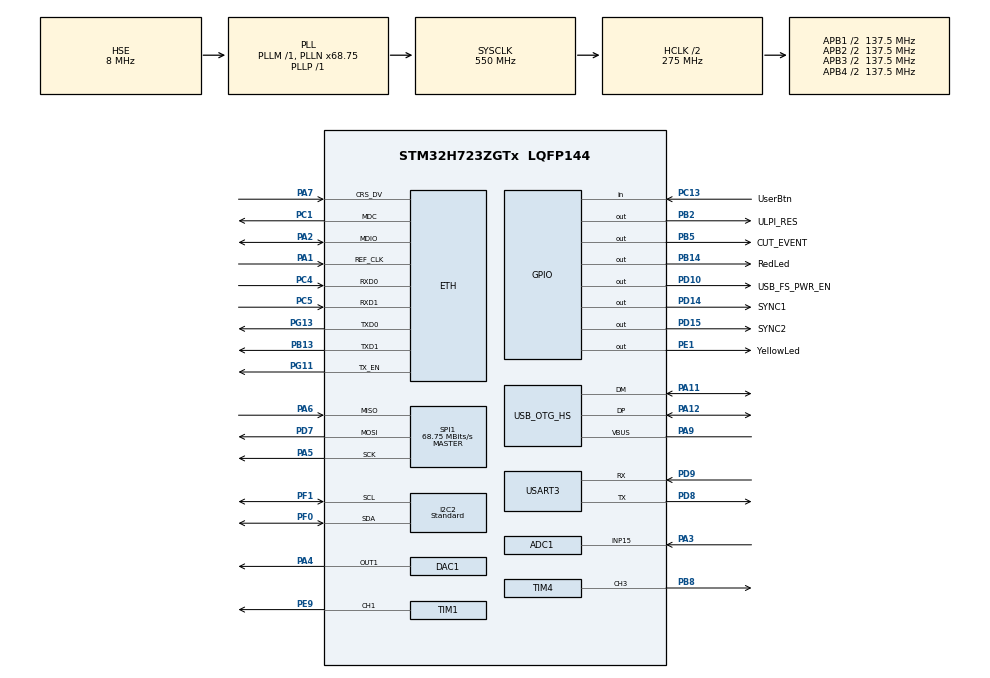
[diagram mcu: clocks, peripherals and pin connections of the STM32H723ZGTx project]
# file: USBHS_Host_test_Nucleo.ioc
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ADC1.Channel-0\#ChannelRegularConversion=ADC_CHANNEL_18
ADC1.Channel-1\#ChannelRegularConversion=ADC_CHANNEL_15
ADC1.ClockPrescaler=ADC_CLOCK_ASYNC_DIV10
ADC1.ConversionDataManagement=ADC_CONVERSIONDATA_DMA_ONESHOT
ADC1.ExternalTrigConv=ADC_EXTERNALTRIG_T3_TRGO
ADC1.NbrOfConversion=2
ADC1.NbrOfConversionFlag=1
ADC1.OffsetNumber-0\#ChannelRegularConversion=ADC_OFFSET_NONE
ADC1.OffsetNumber-1\#ChannelRegularConversion=ADC_OFFSET_NONE
ADC1.OffsetSignedSaturation-0\#ChannelRegularConversion=DISABLE
ADC1.OffsetSignedSaturation-1\#ChannelRegularConversion=DISABLE
ADC1.Overrun=ADC_OVR_DATA_OVERWRITTEN
ADC1.OversamplingMode=ENABLE
ADC1.Rank-0\#ChannelRegularConversion=1
ADC1.Rank-1\#ChannelRegularConversion=2
ADC1.Ratio=64
ADC1.RightBitShift=ADC_RIGHTBITSHIFT_6
ADC1.SamplingTime-0\#ChannelRegularConversion=ADC_SAMPLETIME_32CYCLES_5
ADC1.SamplingTime-1\#ChannelRegularConversion=ADC_SAMPLETIME_32CYCLES_5
ADC1.master=1
CORTEX_M7.AccessPermission-Cortex_Memory_Protection_Unit_Region1_Settings=MPU_REGION_FULL_ACCESS
CORTEX_M7.AccessPermission-Cortex_Memory_Protection_Unit_Region2_Settings=MPU_REGION_FULL_ACCESS
CORTEX_M7.BaseAddress-Cortex_Memory_Protection_Unit_Region1_Settings=0x30000200
CORTEX_M7.BaseAddress-Cortex_Memory_Protection_Unit_Region2_Settings=0x30000000
CORTEX_M7.CPU_DCache=Enabled
CORTEX_M7.CPU_ICache=Enabled
CORTEX_M7.DisableExec-Cortex_Memory_Protection_Unit_Region0_Settings=MPU_INSTRUCTION_ACCESS_DISABLE
CORTEX_M7.DisableExec-Cortex_Memory_Protection_Unit_Region1_Settings=MPU_INSTRUCTION_ACCESS_DISABLE
CORTEX_M7.DisableExec-Cortex_Memory_Protection_Unit_Region2_Settings=MPU_INSTRUCTION_ACCESS_DISABLE
CORTEX_M7.Enable-Cortex_Memory_Protection_Unit_Region0_Settings=MPU_REGION_ENABLE
CORTEX_M7.Enable-Cortex_Memory_Protection_Unit_Region1_Settings=MPU_REGION_ENABLE
CORTEX_M7.Enable-Cortex_Memory_Protection_Unit_Region2_Settings=MPU_REGION_ENABLE
CORTEX_M7.IsBufferable-Cortex_Memory_Protection_Unit_Region2_Settings=MPU_ACCESS_BUFFERABLE
CORTEX_M7.IsShareable-Cortex_Memory_Protection_Unit_Region0_Settings=MPU_ACCESS_SHAREABLE
CORTEX_M7.IsShareable-Cortex_Memory_Protection_Unit_Region1_Settings=MPU_ACCESS_NOT_SHAREABLE
CORTEX_M7.IsShareable-Cortex_Memory_Protection_Unit_Region2_Settings=MPU_ACCESS_SHAREABLE
CORTEX_M7.MPU_Control=MPU_PRIVILEGED_DEFAULT
CORTEX_M7.Size-Cortex_Memory_Protection_Unit_Region0_Settings=MPU_REGION_SIZE_4GB
CORTEX_M7.Size-Cortex_Memory_Protection_Unit_Region1_Settings=MPU_REGION_SIZE_32KB
CORTEX_M7.Size-Cortex_Memory_Protection_Unit_Region2_Settings=MPU_REGION_SIZE_512B
CORTEX_M7.SubRegionDisable-Cortex_Memory_Protection_Unit_Region0_Settings=0x87
CORTEX_M7.SubRegionDisable-Cortex_Memory_Protection_Unit_Region1_Settings=0
CORTEX_M7.TypeExtField-Cortex_Memory_Protection_Unit_Region1_Settings=MPU_TEX_LEVEL1
DAC1.DAC_Channel-DAC_OUT1_ExtAndInt=DAC_CHANNEL_1
Dma.ADC1.0.Direction=DMA_PERIPH_TO_MEMORY
Dma.ADC1.0.EventEnable=DISABLE
Dma.ADC1.0.FIFOMode=DMA_FIFOMODE_DISABLE
Dma.ADC1.0.Instance=DMA1_Stream0
Dma.ADC1.0.MemDataAlignment=DMA_MDATAALIGN_HALFWORD
Dma.ADC1.0.MemInc=DMA_MINC_ENABLE
Dma.ADC1.0.Mode=DMA_CIRCULAR
Dma.ADC1.0.PeriphDataAlignment=DMA_PDATAALIGN_HALFWORD
Dma.ADC1.0.PeriphInc=DMA_PINC_DISABLE
Dma.ADC1.0.Polarity=HAL_DMAMUX_REQ_GEN_RISING
Dma.ADC1.0.Priority=DMA_PRIORITY_LOW
Dma.ADC1.0.RequestNumber=1
Dma.ADC1.0.SignalID=NONE
Dma.ADC1.0.SyncEnable=DISABLE
Dma.ADC1.0.SyncPolarity=HAL_DMAMUX_SYNC_NO_EVENT
Dma.ADC1.0.SyncRequestNumber=1
Dma.ADC1.0.SyncSignalID=NONE
Dma.Request0=ADC1
ETH.MACAddr=00\:80\:E1\:00\:00\:06
ETH.MediaInterface=HAL_ETH_RMII_MODE
ETH.RxBuffLen=1524
ETH.TxDescAddress=0x30000080
I2C2.I2C_Speed_Mode=I2C_Standard
I2C2.Speed=100
I2C2.Timing=0x60404E72
LWIP.BSP.number=1
LWIP.IP_ADDRESS=192.168.088.150
LWIP.LWIP_DHCP=0
LWIP.LWIP_RAM_HEAP_POINTER=0x30000200
LWIP.MEM_SIZE=1024*10
LWIP.NETMASK_ADDRESS=255.255.255.000
LWIP.TCP_MSS=1460
LWIP.TCP_SND_BUF=5840
LWIP.TCP_SND_QUEUELEN=16
LWIP.TCP_WND=5840
LWIP.Version=v2.1.2_Cube
LWIP0.BSP.STBoard=false
LWIP0.BSP.api=BSP_COMPONENT_DRIVER
LWIP0.BSP.component=LAN8742
LWIP0.BSP.instance=LAN8742
LWIP0.BSP.name=Driver_PHY
LWIP0.BSP.semaphore=S_LAN8742
LWIP0.BSP.solution=LAN8742
Mcu.Family=STM32H7
Mcu.Name=STM32H723ZGTx
Mcu.Package=LQFP144
Mcu.UserConstants=uSecondTimPrescaller,274
NVIC.DMA1_Stream0_IRQn=true\:0\:0\:false\:false\:true\:false\:true\:true
NVIC.OTG_HS_IRQn=true\:0\:0\:false\:false\:true\:false\:true\:true
NVIC.PriorityGroup=NVIC_PRIORITYGROUP_4
NVIC.TIM15_IRQn=true\:7\:0\:true\:false\:true\:true\:true\:true
NVIC.TIM23_IRQn=true\:9\:0\:true\:false\:true\:true\:true\:true
NVIC.TIM2_IRQn=true\:8\:0\:true\:false\:true\:true\:true\:true
NVIC.TIM4_IRQn=true\:5\:0\:true\:false\:true\:true\:true\:true
NVIC.TIM8_UP_TIM13_IRQn=true\:10\:0\:true\:false\:true\:true\:true\:true
PA1.GPIO_Speed=GPIO_SPEED_FREQ_VERY_HIGH
PA1.Mode=RMII
PA1.Signal=ETH_REF_CLK
PA11.Mode=Host_FS
PA11.Signal=USB_OTG_HS_DM
PA12.Mode=Host_FS
PA12.Signal=USB_OTG_HS_DP
PA13(JTMS/SWDIO).Mode=Serial_Wire
PA13(JTMS/SWDIO).Signal=DEBUG_JTMS-SWDIO
PA14(JTCK/SWCLK).Mode=Serial_Wire
PA14(JTCK/SWCLK).Signal=DEBUG_JTCK-SWCLK
PA2.GPIO_Speed=GPIO_SPEED_FREQ_VERY_HIGH
PA2.Mode=RMII
PA2.Signal=ETH_MDIO
PA3.Signal=ADCx_INP15
PA4.Signal=SharedAnalog_PA4
PA5.GPIO_PuPd=GPIO_NOPULL
PA5.GPIO_Speed=GPIO_SPEED_FREQ_VERY_HIGH
PA5.Mode=Full_Duplex_Master
PA5.Signal=SPI1_SCK
PA6.GPIO_PuPd=GPIO_NOPULL
PA6.GPIO_Speed=GPIO_SPEED_FREQ_VERY_HIGH
PA6.Mode=Full_Duplex_Master
PA6.Signal=SPI1_MISO
PA7.GPIO_Speed=GPIO_SPEED_FREQ_VERY_HIGH
PA7.Mode=RMII
PA7.Signal=ETH_CRS_DV
PA9.Mode=Activate_VBUS_FS
PA9.Signal=USB_OTG_HS_VBUS
PB13.GPIO_Speed=GPIO_SPEED_FREQ_VERY_HIGH
PB13.Mode=RMII
PB13.Signal=ETH_TXD1
PB14.GPIO_Label=RedLed
PB14.Signal=GPIO_Output
PB2.GPIO_Label=ULPI_RES
PB2.GPIO_Speed=GPIO_SPEED_FREQ_LOW
PB2.PinState=GPIO_PIN_SET
PB2.Signal=GPIO_Output
PB5.GPIO_Label=CUT_EVENT
PB5.GPIO_Speed=GPIO_SPEED_FREQ_VERY_HIGH
PB5.Signal=GPIO_Output
PB8.GPIO_PuPd=GPIO_PULLDOWN
PB8.GPIO_Speed=GPIO_SPEED_FREQ_VERY_HIGH
PB8.Signal=S_TIM4_CH3
PC1.GPIO_Speed=GPIO_SPEED_FREQ_VERY_HIGH
PC1.Mode=RMII
PC1.Signal=ETH_MDC
PC13.GPIO_Label=UserBtn
PC13.Signal=GPIO_Input
PC4.GPIO_Speed=GPIO_SPEED_FREQ_VERY_HIGH
PC4.Mode=RMII
PC4.Signal=ETH_RXD0
PC5.GPIO_Speed=GPIO_SPEED_FREQ_VERY_HIGH
PC5.Mode=RMII
PC5.Signal=ETH_RXD1
PD10.GPIO_Label=USB_FS_PWR_EN
PD10.PinState=GPIO_PIN_SET
PD10.Signal=GPIO_Output
PD14.GPIO_Label=SYNC1
PD14.GPIO_Speed=GPIO_SPEED_FREQ_VERY_HIGH
PD14.Signal=GPIO_Output
PD15.GPIO_Label=SYNC2
PD15.GPIO_Speed=GPIO_SPEED_FREQ_VERY_HIGH
PD15.Signal=GPIO_Output
PD7.GPIO_PuPd=GPIO_NOPULL
PD7.GPIO_Speed=GPIO_SPEED_FREQ_VERY_HIGH
PD7.Mode=Full_Duplex_Master
PD7.Signal=SPI1_MOSI
PD8.Mode=Asynchronous
PD8.Signal=USART3_TX
PD9.Mode=Asynchronous
PD9.Signal=USART3_RX
PE1.GPIO_Label=YellowLed
PE1.Signal=GPIO_Output
PE9.GPIO_PuPd=GPIO_PULLDOWN
PE9.GPIO_Speed=GPIO_SPEED_FREQ_VERY_HIGH
PE9.Signal=S_TIM1_CH1
PF0.GPIO_Pu=GPIO_PULLUP
PF0.GPIO_Speed=GPIO_SPEED_FREQ_VERY_HIGH
PF0.Mode=I2C
PF0.Signal=I2C2_SDA
PF1.GPIO_Pu=GPIO_PULLUP
PF1.GPIO_Speed=GPIO_SPEED_FREQ_VERY_HIGH
PF1.Mode=I2C
PF1.Signal=I2C2_SCL
PG11.GPIO_Speed=GPIO_SPEED_FREQ_VERY_HIGH
PG11.Mode=RMII
PG11.Signal=ETH_TX_EN
PG13.GPIO_Speed=GPIO_SPEED_FREQ_VERY_HIGH
PG13.Mode=RMII
PG13.Signal=ETH_TXD0
PH0-OSC_IN.Mode=HSE-External-Clock-Source
PH0-OSC_IN.Signal=RCC_OSC_IN
ProjectManager.HeapSize=0x200
ProjectManager.StackSize=0x400
ProjectManager.TargetToolchain=STM32CubeIDE
RCC.ADCFreq_Value=96000000
RCC.APB1Freq_Value=137500000
RCC.APB2Freq_Value=137500000
RCC.APB3Freq_Value=137500000
RCC.APB4Freq_Value=137500000
RCC.CortexFreq_Value=550000000
RCC.D1PPRE=RCC_APB3_DIV2
RCC.D2PPRE1=RCC_APB1_DIV2
RCC.D2PPRE2=RCC_APB2_DIV2
RCC.D3PPRE=RCC_APB4_DIV2
RCC.DIVM1=1
RCC.DIVM2=1
RCC.DIVN1=68
RCC.DIVN2=24
RCC.DIVP1=1
RCC.DIVQ1=4
RCC.HCLKFreq_Value=275000000
RCC.HPRE=RCC_HCLK_DIV2
RCC.HSE_VALUE=8000000
RCC.PLL2FRACN=0
RCC.PLLFRACN=6144
RCC.PLLSourceVirtual=RCC_PLLSOURCE_HSE
RCC.SYSCLKFreq_VALUE=550000000
RCC.SYSCLKSource=RCC_SYSCLKSOURCE_PLLCLK
RCC.USBCLockSelection=RCC_USBCLKSOURCE_HSI48
RCC.USBFreq_Value=48000000
SH.ADCx_INP15.0=ADC1_INP15,IN15-Single-Ended
SH.S_TIM1_CH1.0=TIM1_CH1,PWM Generation1 CH1
SH.S_TIM4_CH3.0=TIM4_CH3,PWM Generation3 CH3
SH.SharedAnalog_PA4.0=ADC2_INP18
SH.SharedAnalog_PA4.1=DAC1_OUT1,DAC_OUT1_ExtAndInt
SH.SharedAnalog_PA4.2=ADC1_INP18,IN18-Single-Ended
SPI1.CalculateBaudRate=68.75 MBits/s
SPI1.Direction=SPI_DIRECTION_2LINES
SPI1.Mode=SPI_MODE_MASTER
SPI1.VirtualType=VM_MASTER
TIM1.Channel-PWM\ Generation1\ CH1=TIM_CHANNEL_1
TIM1.OCPolarity_1=TIM_OCPOLARITY_LOW
TIM1.Period=62
TIM1.Prescaler=uSecondTimPrescaller
TIM1.Pulse-PWM\ Generation1\ CH1=30
TIM1.TIM_MasterOutputTrigger=TIM_TRGO_UPDATE
TIM15.Period=8
TIM2.Prescaler=uSecondTimPrescaller
TIM23.Period=5000000-1
TIM23.Prescaler=275-1
TIM3.Channel-PWM\ Generation1\ No\ Output=TIM_CHANNEL_1
TIM3.Period=1000-1
TIM3.Prescaler=27500-1
TIM3.TIM_MasterOutputTrigger=TIM_TRGO_UPDATE
TIM4.Channel-PWM\ Generation3\ CH3=TIM_CHANNEL_3
TIM4.Period=1000-1
TIM4.Prescaler=uSecondTimPrescaller
TIM4.Pulse-PWM\ Generation3\ CH3=500
TIM4.TIM_MasterOutputTrigger=TIM_TRGO_RESET
TIM8.Period=10000-1
TIM8.Prescaler=27500-1
USART3.VirtualMode-Asynchronous=VM_ASYNC
USB_HOST.BSP.number=1
USB_HOST.USBH_DEBUG_LEVEL=3
USB_HOST.USBH_HandleTypeDef=hUsbHostHS
USB_HOST.USBH_MAX_NUM_CONFIGURATION=1
USB_HOST.USBH_MAX_NUM_ENDPOINTS=3
USB_HOST.USBH_MAX_NUM_INTERFACES=3
USB_HOST.USBH_MAX_NUM_SUPPORTED_CLASS=2
USB_HOST.VirtualModeHS=Cdc
USB_HOST0.BSP.STBoard=false
USB_HOST0.BSP.api=Unknown
USB_HOST0.BSP.instance=PD10
USB_HOST0.BSP.ip=GPIO
USB_HOST0.BSP.mode=Output
USB_HOST0.BSP.name=Drive_VBUS_HS
USB_HOST0.BSP.solution=PD10
USB_OTG_HS.VirtualMode-Host_FS=Host_FS
VP_LWIP_VS_Enabled.Mode=Enabled
VP_TIM15_VS_ClockSourceITR.Mode=TriggerSource_ITR0
VP_TIM15_VS_ControllerModeClock.Mode=Clock Mode
VP_TIM1_VS_ClockSourceINT.Mode=Internal
VP_TIM23_VS_ClockSourceINT.Mode=Internal
VP_TIM2_VS_ClockSourceINT.Mode=Internal
VP_TIM3_VS_ClockSourceINT.Mode=Internal
VP_TIM3_VS_no_output1.Mode=PWM Generation1 No Output
VP_TIM4_VS_ClockSourceINT.Mode=Internal
VP_TIM8_VS_ClockSourceINT.Mode=Internal
VP_USB_HOST_VS_USB_HOST_CDC_HS.Mode=CDC_HS
VREF+.Mode=InternalMode
VREF+.Signal=VREFBUF_OUT
board=custom

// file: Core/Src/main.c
/* USER CODE BEGIN Header */
/**
  ******************************************************************************
  * @file           : main.c
  * @brief          : Main program body
  ******************************************************************************
  * @attention
  *
  * Copyright (c) 2023 STMicroelectronics.
  * All rights reserved.
  *
  * This software is licensed under terms that can be found in the LICENSE file
  * in the root directory of this software component.
  * If no LICENSE file comes with this software, it is provided AS-IS.
  *
  ******************************************************************************
  */
/* USER CODE END Header */
#include "main.h"
#include "lwip.h"
#include "usb_host.h"

/* USER CODE BEGIN Includes */
#include "usbh_cdc.h"

#include "mb.h"
#include "mbtcp.h"

#include "intFlash.h"
#include "device.h"
#include "measurer.h"
#include "dds.h"
#include "generator.h"
#include "tomograph.h"

#include "udpClient.h"
/* USER CODE END Includes */

/* USER CODE BEGIN PTD */
#ifdef __GNUC__
/* With GCC/RAISONANCE, small printf (option LD Linker->Libraries->Small printf
   set to 'Yes') calls __io_putchar() */
#define PUTCHAR_PROTOTYPE int __io_putchar(int ch)
#else
#define PUTCHAR_PROTOTYPE int fputc(int ch, FILE *f)
#endif /* __GNUC__ */
/* USER CODE END PTD */

/* USER CODE BEGIN PM */

#define BTN_DELAY	50000

//#define I2C_TEST
//#define USB_TEST
/* USER CODE END PM */

ADC_HandleTypeDef hadc1;
DMA_HandleTypeDef hdma_adc1;

DAC_HandleTypeDef hdac1;

I2C_HandleTypeDef hi2c2;

SPI_HandleTypeDef hspi1;

TIM_HandleTypeDef htim1;
TIM_HandleTypeDef htim2;
TIM_HandleTypeDef htim3;
TIM_HandleTypeDef htim4;
TIM_HandleTypeDef htim8;
TIM_HandleTypeDef htim15;
TIM_HandleTypeDef htim23;

UART_HandleTypeDef huart3;

/* USER CODE BEGIN PV */

// htim1 SYNC2 cut multiplex event.( 8 times per cut) PWM mode
// htim2 us counter for tick and etc.
// htim3 ADC DMA trigger event generator
// htim4 SYNC1 cut event timer
// htim8 1sec timer for debug bit rates&speed and tests
// htim15 MUX signal counter per one cut.
// htim23 DDS sleep timer mode manager

QDeviceTypeDef qDevice;

const char* firmwareDateTime;
static uint8_t Vendor[14] = "QualitetSystem";
int packetSendCounter = 0;
int packetReceiveCounter = 0;
int bytesReceiveCounter = 0;
int tomographPacketCounter = 0;
int btnCounter = 0;

int usbDataHasCollected = RESET;

int udpTomographPacketHasCollected = RESET;

uint8_t ethPressuresBankFullStatus;

uint32_t cutIndex=0;

//uint8_t cdc_tx_buf[USBHS_MAX_BULK_FS_PACKET_SIZE];
//uint8_t cdc_rx_buf[USBHS_MAX_BULK_FS_PACKET_SIZE];
/* Buffer used for transmission */
//uint8_t aTxBuffer[] = "****I2C****";
//uint8_t aRxBuffer[i2cBufSize];

PUTCHAR_PROTOTYPE{
  HAL_UART_Transmit(&huart3, (uint8_t *)&ch, 1, HAL_MAX_DELAY);
  return ch;
}

CDC_StateTypedef CDC_STATE = CDC_BUSY;

extern struct netif gnetif;
extern USBH_HandleTypeDef hUsbHostHS;

int cdcDeviceBufferIndex = 0;
int cdcHandlesSize = 0;
CDC_HandleTypeDef cdc_Handles [LPC_MCU_SIZE];

void packPressurePacket(uint32_t tick){
	uint32_t intVar;
	if(qDevice.adcEntitie.singleMeasurementFlag != SET){
		for (int i = 0; i < ADC_LINES_SIZE; ++i) {
			intVar = (qDevice.qMeasurer.periodMs/qDevice.adcEntitie.settings.periodMs) * (i+1);
			if( tick > intVar ){
				QAdcMeasuremenLine* line = &qDevice.adcEntitie.measurementLines[i];
				line->tick = (float32_t)intVar;
				for(int j = 0 ; j < ADC_CHANNEL_SIZE ; j++){
					line -> measurements[j] = /*qDevice.adcEntitie.pCoef */ qDevice.adcEntitie.adcValues[i*2 + j];
				}
			}else break;
		}
	}else{
		QAdcMeasuremenLine* line = &qDevice.adcEntitie.measurementLines[0];
		line->tick = 0;
		for (int i = 0; i < ADC_CHANNEL_SIZE; ++i) {
			line ->measurements[i] = qDevice.adcEntitie.settings.pCoef * qDevice.adcEntitie.adcValues[i];
		}
		qDevice.adcEntitie.singleMeasurementFlag = RESET;
	}
}

// when DMA conversion is completed, HAL_ADC_ConvCpltCallback function
// will interrupt the processor. You can find this function in
// Drivers>STM32F4xx_HAL_Drivers>stm32f4xx_hal_adc.c file as __weak attribute
void HAL_ADC_ConvCpltCallback(ADC_HandleTypeDef* hadc){
	qDevice.channelIndex = htim2.Instance->CNT;
	packPressurePacket(qDevice.channelIndex);
	ethPressuresBankFullStatus = SET;
}

// Interrupt Handling Function

/* USER CODE END PV */

void SystemClock_Config(void);
static void MPU_Initialize(void);
static void MPU_Config(void);
static void MX_GPIO_Init(void);
static void MX_DMA_Init(void);
static void MX_TIM3_Init(void);
static void MX_TIM4_Init(void);
static void MX_I2C2_Init(void);
static void MX_ADC1_Init(void);
static void MX_DAC1_Init(void);
static void MX_SPI1_Init(void);
static void MX_TIM8_Init(void);
static void MX_USART3_UART_Init(void);
static void MX_TIM2_Init(void);
static void MX_TIM1_Init(void);
static void MX_TIM15_Init(void);
static void MX_TIM23_Init(void);
void MX_USB_HOST_Process(void);

int main(void)
{

  /* Enable I-Cache---------------------------------------------------------*/
  SCB_EnableICache();

  /* Enable D-Cache---------------------------------------------------------*/
  SCB_EnableDCache();

  /* MCU Configuration--------------------------------------------------------*/

  /* Reset of all peripherals, Initializes the Flash interface and the Systick. */
  HAL_Init();

  /* MPU Configuration--------------------------------------------------------*/
  MPU_Config();

  /* Configure the system clock */
  SystemClock_Config();

  /* USER CODE BEGIN SysInit */
  initDevice(&qDevice);
  initTomograph(&qDevice.lpcMcus[0], &qDevice.tomographConfig, &qDevice.qMeasurer.measuringParameters, &qDevice.muxTable, (QLpcElectodeCoefs*)null);
#ifdef LPC_DEBUG
  fillLpcMcuTypeDefs(&qDevice);
#endif
  /* USER CODE END SysInit */

  /* Initialize all configured peripherals */
  MX_GPIO_Init();
  MX_DMA_Init();
  MX_TIM3_Init();
  MX_TIM4_Init();
  MX_USB_HOST_Init();
  MX_I2C2_Init();
  MX_LWIP_Init();
  MX_ADC1_Init();
  MX_DAC1_Init();
  MX_SPI1_Init();
  MX_TIM8_Init();
  MX_USART3_UART_Init();
  MX_TIM2_Init();
  MX_TIM1_Init();
  MX_TIM15_Init();
  MX_TIM23_Init();
  /* USER CODE BEGIN 2 */
  setCutRateToTimers(&qDevice);
// JUST FOR TESTS
//  qDevice.tomographConfig.cutRate = 100; //Hz
//  htim4.Instance->ARR = 1000/qDevice.tomographConfig.cutRate * 1000;
//  htim4.Init.Period = htim4.Instance->ARR;
//  TIM_OC_InitTypeDef sConfigOC = {0};
//  sConfigOC.OCMode = TIM_OCMODE_TOGGLE;
//  sConfigOC.Pulse = htim4.Init.Period/2;
//  sConfigOC.OCPolarity = TIM_OCPOLARITY_LOW;
//  sConfigOC.OCFastMode = TIM_OCFAST_DISABLE;
//  if (HAL_TIM_OC_ConfigChannel(&htim4, &sConfigOC, TIM_CHANNEL_3) != HAL_OK) Error_Handler();
//  sConfigOC.Pulse = htim4.Init.Period/(qDevice.tomographConfig.stepCount * 2);
//  if (HAL_TIM_OC_ConfigChannel(&htim4, &sConfigOC, TIM_CHANNEL_4) != HAL_OK) Error_Handler();

  HAL_GPIO_WritePin(GPIOB, ULPI_RES_Pin, GPIO_PIN_RESET);

  if (HAL_ADCEx_Calibration_Start(&hadc1, ADC_CALIB_OFFSET, ADC_SINGLE_ENDED) != HAL_OK) Error_Handler();
  /*##-3- Set DAC Channel1 DHR register ######################################*/
  if (HAL_DAC_SetValue(&hdac1, DAC_CHANNEL_1, DAC_ALIGN_12B_R, 3000) != HAL_OK) Error_Handler();
  if (HAL_DAC_Start(&hdac1, DAC_CHANNEL_1) != HAL_OK)  Error_Handler();

  eMBTCPInit(qDevice.eth_params.modBusTcpPort);
  eMBEnable();
  eMBSetSlaveID(MB_TCP_PSEUDO_ADDRESS, TRUE, Vendor, sizeof(Vendor));

  printf("\n\r===========================================\n\rUSB HOST become to main loop.\r\n");

  udpClientConnect(qDevice.eth_params.udpServerAddr, qDevice.eth_params.udpPort);

  /* USER CODE END 2 */

  /* Infinite loop */
  /* USER CODE BEGIN WHILE */

  USBH_StatusTypeDef status = 0;

/************* main loop ********************/
  while (1){
    /* USER CODE END WHILE */
    MX_USB_HOST_Process();

    /* USER CODE BEGIN 3 */
	ethernetif_input(&gnetif);
	sys_check_timeouts();

	/* Check if ModBus packet received */
	if(eMBPoll() != MB_ENOERR) Error_Handler();

//	HAL_GPIO_TogglePin(CUT_EVENT_GPIO_Port, CUT_EVENT_Pin);

	switch (CDC_STATE){
		case CDC_SEND:
			HAL_GPIO_WritePin(CUT_EVENT_GPIO_Port, CUT_EVENT_Pin, GPIO_PIN_SET);
			status = USBH_CDC_Transmit(&hUsbHostHS, (uint8_t *)USB_SOP, 1);
			if(status == USBH_OK) {
				CDC_STATE = CDC_BUSY;
			}else{
				printf("USBH_CDC_Transmit error %d\r\n", status);
			}
			break;
		case CDC_RECEIVE:
			status = USBH_CDC_Receive(&hUsbHostHS, (uint8_t *)qDevice.lpcPacketStorage.pLpcBufToCollect, USB_PACKET_SIZE);
			if(status == USBH_OK) {
				CDC_STATE = CDC_BUSY;
			}else{
				printf("USBH_CDC_Receive error %d\r\n", status);
			}
			break;
		default:  break;
	}

    if(usbDataHasCollected == SET){
    	usbDataHasCollected = RESET;
    	qDevice.udpPacketToCollectPointer++;
//    	fillLpcSampleData(cutIndex, qDevice.lpcPacketStorage.pLpcBufToSend);
    	packCutPacket(qDevice.udpPacketToCollectPointer-1, qDevice.tomographConfig.stepCount, qDevice.lpcPacketStorage.pLpcBufToSend);
		if(qDevice.udpPacketToCollectPointer == &qDevice.udpPacketStorage[TOMOGRAPH_UDP_CUTS_PER_PACKET] ||
				qDevice.udpPacketToCollectPointer == &qDevice.udpPacketStorage[2*TOMOGRAPH_UDP_CUTS_PER_PACKET]){
			qDevice.udpPacketToSendPointer = qDevice.udpPacketToCollectPointer - TOMOGRAPH_UDP_CUTS_PER_PACKET;
			udpTomographPacketHasCollected = SET;
		}
		if(qDevice.udpPacketToCollectPointer >= &qDevice.udpPacketStorage[2*TOMOGRAPH_UDP_CUTS_PER_PACKET]){
			qDevice.udpPacketToCollectPointer = &qDevice.udpPacketStorage[0];
		}
    }

    /* Send Tomograph pressure packet*/
    if(udpTomographPacketHasCollected == SET){
    	udpTomographPacketHasCollected = RESET;
    	tomographPacketCounter++;
//    	size_t size = sizeof(QTomographUdpCut)*TOMOGRAPH_UDP_CUTS_PER_PACKET;
    	uint8_t* address = (uint8_t*)(qDevice.udpPacketToSendPointer) - 4;// shift for packet type
    	*address = TOMOGRAPH_PACKET_TYPE; // set packet size
    	udpClientSend(address, UDP_PACKET_FIXED_SIZE);
//    	memset(qDevice.udpPacketPointer-TOMOGRAPH_UDP_CUTS_PER_PACKET, 0, size);
    }

	// send ADC measurement packet via UDP if it's ready to send
	if(ethPressuresBankFullStatus == SET){
		ethPressuresBankFullStatus = RESET;
//		printf("Last adc1_3(P1)=%f, acd1_10(P2)=%f\r\n",qDevice.adcEntitie.measurementLines[0].measurements[0],qDevice.adcEntitie.measurementLines[0].measurements[1]);
		qDevice.adcEntitie.udpPacketTypeSpace = PRESSURE_PACKET_TYPE;
		udpClientSend(&qDevice.adcEntitie.udpPacketTypeSpace, UDP_PACKET_FIXED_SIZE);
	}

//    if(HAL_GPIO_ReadPin(UserBtn_GPIO_Port, UserBtn_Pin) == GPIO_PIN_SET){
//    	btnCounter++;
//    	if(btnCounter >= BTN_DELAY){
//    		fillLpcSampleData(&qDevice.lpcPacketStorage.lpcDoublePacketsPerCut[0]);
//    		packCutPacket(&qDevice.udpPacketStorage[0], 8, &qDevice.lpcPacketStorage.lpcDoublePacketsPerCut[0]);
//			btnCounter = 0;
//    		HAL_GPIO_TogglePin(YellowLed_GPIO_Port, YellowLed_Pin);
//
//#ifdef I2C_USE
//		  printf("HAL_I2C_Master_Transmit.\r\n");
//		  HAL_StatusTypeDef hal_status = HAL_I2C_Master_Transmit(&hi2c2, (uint16_t)I2C_ADDRESS, (uint8_t*)aTxBuffer, i2cBufSize, 8000);
///* Error_Handler() function is called when Timeout error occurs.
//   When Acknowledge failure occurs (Slave don't acknowledge its address)
//   Master restarts communication
//*/
//			if (hal_status != HAL_OK){
//				  printf("hal_status=%d\tHAL_I2C_GetError=%d.\r\n", hal_status, (int)HAL_I2C_GetError(&hi2c2));
//			}else{
//				 HAL_Delay(50);
//				 printf("HAL_I2C_Master_Receive.\r\n");
//				 hal_status = HAL_I2C_Master_Receive(&hi2c2, (uint16_t)I2C_ADDRESS, (uint8_t *)aRxBuffer, i2cBufSize, 8000);
//				 if (hal_status != HAL_OK){
//					 printf("I2C Reception error %d.\r\n", (int)HAL_I2C_GetError(&hi2c2));
//				 }else{
//					 printf("Transfer in reception process is correct.\r\n");
//				 }
//			}
//
//#endif
//
//#ifdef USB_TEST
//    		usbDataCollectingState ^= 1;
//    		if(usbDataCollectingState != 0){
//    			printf("Button toggle event. Start USB sending.\r\n");
//				__HAL_TIM_SET_COUNTER(&htim8, 0);
//				HAL_TIM_Base_Start_IT(&htim8);
//				CDC_STATE = CDC_SEND;
//    		}else{
//    			HAL_TIM_Base_Stop_IT(&htim8);
//    			HAL_GPIO_WritePin(RedLed_GPIO_Port, RedLed_Pin, GPIO_PIN_RESET);
//    			printf("Button toggle event. Stop USB sending.\r\n");
//    			packetSendCounter = 0;
//    			packetReceiveCounter = 0;
//    			bytesReceiveCounter = 0;
//    		}
//#endif
//    	}
//		}
//    }else{
//		btnCounter = 0;
//	}

	 // stop continuous measuring if don't get continue measuring
#ifdef uninterruptableMeasurementWatchdogInterval
   if (qDevice.qMeasurer.streamMeasurementStatus == ENABLE){
	   if ((HAL_GetTick() - qDevice.qMeasurer.uninterruptableMeasurementWatchdog) > uninterruptableMeasurementWatchdogInterval){
		   stopStreamMeasuering();
		   if (eMBDisable() == MB_ENOERR){
			   eMBEnable();
		   }
	   }
   }
#endif

/*		Software reset if after flag loop count deviceResetFlag is set */
	if(qDevice.deviceResetFlag != RESET){
		qDevice.deviceResetFlag--;
		if(qDevice.deviceResetFlag == RESET){
			NVIC_SystemReset();
		}
	}
  }
  /* USER CODE END 3 */
}

void SystemClock_Config(void)
{
  RCC_OscInitTypeDef RCC_OscInitStruct = {0};
  RCC_ClkInitTypeDef RCC_ClkInitStruct = {0};

  /** Supply configuration update enable
  */
  HAL_PWREx_ConfigSupply(PWR_LDO_SUPPLY);

  /** Configure the main internal regulator output voltage
  */
  __HAL_PWR_VOLTAGESCALING_CONFIG(PWR_REGULATOR_VOLTAGE_SCALE0);

  while(!__HAL_PWR_GET_FLAG(PWR_FLAG_VOSRDY)) {}

  /** Initializes the RCC Oscillators according to the specified parameters
  * in the RCC_OscInitTypeDef structure.
  */
  RCC_OscInitStruct.OscillatorType = RCC_OSCILLATORTYPE_HSI48|RCC_OSCILLATORTYPE_HSE;
  RCC_OscInitStruct.HSEState = RCC_HSE_BYPASS;
  RCC_OscInitStruct.HSI48State = RCC_HSI48_ON;
  RCC_OscInitStruct.PLL.PLLState = RCC_PLL_ON;
  RCC_OscInitStruct.PLL.PLLSource = RCC_PLLSOURCE_HSE;
  RCC_OscInitStruct.PLL.PLLM = 1;
  RCC_OscInitStruct.PLL.PLLN = 68;
  RCC_OscInitStruct.PLL.PLLP = 1;
  RCC_OscInitStruct.PLL.PLLQ = 4;
  RCC_OscInitStruct.PLL.PLLR = 2;
  RCC_OscInitStruct.PLL.PLLRGE = RCC_PLL1VCIRANGE_3;
  RCC_OscInitStruct.PLL.PLLVCOSEL = RCC_PLL1VCOWIDE;
  RCC_OscInitStruct.PLL.PLLFRACN = 6144;
  if (HAL_RCC_OscConfig(&RCC_OscInitStruct) != HAL_OK)
  {
    Error_Handler();
  }

  /** Initializes the CPU, AHB and APB buses clocks
  */
  RCC_ClkInitStruct.ClockType = RCC_CLOCKTYPE_HCLK|RCC_CLOCKTYPE_SYSCLK
                              |RCC_CLOCKTYPE_PCLK1|RCC_CLOCKTYPE_PCLK2
                              |RCC_CLOCKTYPE_D3PCLK1|RCC_CLOCKTYPE_D1PCLK1;
  RCC_ClkInitStruct.SYSCLKSource = RCC_SYSCLKSOURCE_PLLCLK;
  RCC_ClkInitStruct.SYSCLKDivider = RCC_SYSCLK_DIV1;
  RCC_ClkInitStruct.AHBCLKDivider = RCC_HCLK_DIV2;
  RCC_ClkInitStruct.APB3CLKDivider = RCC_APB3_DIV2;
  RCC_ClkInitStruct.APB1CLKDivider = RCC_APB1_DIV2;
  RCC_ClkInitStruct.APB2CLKDivider = RCC_APB2_DIV2;
  RCC_ClkInitStruct.APB4CLKDivider = RCC_APB4_DIV2;

  if (HAL_RCC_ClockConfig(&RCC_ClkInitStruct, FLASH_LATENCY_3) != HAL_OK)
  {
    Error_Handler();
  }
}

static void MX_ADC1_Init(void)
{

  ADC_MultiModeTypeDef multimode = {0};
  ADC_ChannelConfTypeDef sConfig = {0};

  /** Common config
  */
  hadc1.Instance = ADC1;
  hadc1.Init.ClockPrescaler = ADC_CLOCK_ASYNC_DIV10;
  hadc1.Init.Resolution = ADC_RESOLUTION_16B;
  hadc1.Init.ScanConvMode = ADC_SCAN_ENABLE;
  hadc1.Init.EOCSelection = ADC_EOC_SINGLE_CONV;
  hadc1.Init.LowPowerAutoWait = DISABLE;
  hadc1.Init.ContinuousConvMode = DISABLE;
  hadc1.Init.NbrOfConversion = 2;
  hadc1.Init.DiscontinuousConvMode = DISABLE;
  hadc1.Init.ExternalTrigConv = ADC_EXTERNALTRIG_T3_TRGO;
  hadc1.Init.ExternalTrigConvEdge = ADC_EXTERNALTRIGCONVEDGE_RISING;
  hadc1.Init.ConversionDataManagement = ADC_CONVERSIONDATA_DMA_ONESHOT;
  hadc1.Init.Overrun = ADC_OVR_DATA_OVERWRITTEN;
  hadc1.Init.LeftBitShift = ADC_LEFTBITSHIFT_NONE;
  hadc1.Init.OversamplingMode = ENABLE;
  hadc1.Init.Oversampling.Ratio = 64;
  hadc1.Init.Oversampling.RightBitShift = ADC_RIGHTBITSHIFT_6;
  hadc1.Init.Oversampling.TriggeredMode = ADC_TRIGGEREDMODE_SINGLE_TRIGGER;
  hadc1.Init.Oversampling.OversamplingStopReset = ADC_REGOVERSAMPLING_CONTINUED_MODE;
  if (HAL_ADC_Init(&hadc1) != HAL_OK)
  {
    Error_Handler();
  }

  /** Configure the ADC multi-mode
  */
  multimode.Mode = ADC_MODE_INDEPENDENT;
  if (HAL_ADCEx_MultiModeConfigChannel(&hadc1, &multimode) != HAL_OK)
  {
    Error_Handler();
  }

  /** Configure Regular Channel
  */
  sConfig.Channel = ADC_CHANNEL_18;
  sConfig.Rank = ADC_REGULAR_RANK_1;
  sConfig.SamplingTime = ADC_SAMPLETIME_32CYCLES_5;
  sConfig.SingleDiff = ADC_SINGLE_ENDED;
  sConfig.OffsetNumber = ADC_OFFSET_NONE;
  sConfig.Offset = 0;
  sConfig.OffsetSignedSaturation = DISABLE;
  if (HAL_ADC_ConfigChannel(&hadc1, &sConfig) != HAL_OK)
  {
    Error_Handler();
  }

  /** Configure Regular Channel
  */
  sConfig.Channel = ADC_CHANNEL_15;
  sConfig.Rank = ADC_REGULAR_RANK_2;
  if (HAL_ADC_ConfigChannel(&hadc1, &sConfig) != HAL_OK)
  {
    Error_Handler();
  }

}

static void MX_DAC1_Init(void)
{

  DAC_ChannelConfTypeDef sConfig = {0};

  /** DAC Initialization
  */
  hdac1.Instance = DAC1;
  if (HAL_DAC_Init(&hdac1) != HAL_OK)
  {
    Error_Handler();
  }

  /** DAC channel OUT1 config
  */
  sConfig.DAC_SampleAndHold = DAC_SAMPLEANDHOLD_DISABLE;
  sConfig.DAC_Trigger = DAC_TRIGGER_NONE;
  sConfig.DAC_OutputBuffer = DAC_OUTPUTBUFFER_ENABLE;
  sConfig.DAC_ConnectOnChipPeripheral = DAC_CHIPCONNECT_ENABLE;
  sConfig.DAC_UserTrimming = DAC_TRIMMING_FACTORY;
  if (HAL_DAC_ConfigChannel(&hdac1, &sConfig, DAC_CHANNEL_1) != HAL_OK)
  {
    Error_Handler();
  }

}

static void MX_I2C2_Init(void)
{

  hi2c2.Instance = I2C2;
  hi2c2.Init.Timing = 0x60404E72;
  hi2c2.Init.OwnAddress1 = 0;
  hi2c2.Init.AddressingMode = I2C_ADDRESSINGMODE_7BIT;
  hi2c2.Init.DualAddressMode = I2C_DUALADDRESS_DISABLE;
  hi2c2.Init.OwnAddress2 = 0;
  hi2c2.Init.OwnAddress2Masks = I2C_OA2_NOMASK;
  hi2c2.Init.GeneralCallMode = I2C_GENERALCALL_DISABLE;
  hi2c2.Init.NoStretchMode = I2C_NOSTRETCH_DISABLE;
  if (HAL_I2C_Init(&hi2c2) != HAL_OK)
  {
    Error_Handler();
  }

  /** Configure Analogue filter
  */
  if (HAL_I2CEx_ConfigAnalogFilter(&hi2c2, I2C_ANALOGFILTER_ENABLE) != HAL_OK)
  {
    Error_Handler();
  }

  /** Configure Digital filter
  */
  if (HAL_I2CEx_ConfigDigitalFilter(&hi2c2, 0) != HAL_OK)
  {
    Error_Handler();
  }

}

static void MX_SPI1_Init(void)
{

  /* SPI1 parameter configuration*/
  hspi1.Instance = SPI1;
  hspi1.Init.Mode = SPI_MODE_MASTER;
  hspi1.Init.Direction = SPI_DIRECTION_2LINES;
  hspi1.Init.DataSize = SPI_DATASIZE_4BIT;
  hspi1.Init.CLKPolarity = SPI_POLARITY_LOW;
  hspi1.Init.CLKPhase = SPI_PHASE_1EDGE;
  hspi1.Init.NSS = SPI_NSS_SOFT;
  hspi1.Init.BaudRatePrescaler = SPI_BAUDRATEPRESCALER_2;
  hspi1.Init.FirstBit = SPI_FIRSTBIT_MSB;
  hspi1.Init.TIMode = SPI_TIMODE_DISABLE;
  hspi1.Init.CRCCalculation = SPI_CRCCALCULATION_DISABLE;
  hspi1.Init.CRCPolynomial = 0x0;
  hspi1.Init.NSSPMode = SPI_NSS_PULSE_ENABLE;
  hspi1.Init.NSSPolarity = SPI_NSS_POLARITY_LOW;
  hspi1.Init.FifoThreshold = SPI_FIFO_THRESHOLD_01DATA;
  hspi1.Init.TxCRCInitializationPattern = SPI_CRC_INITIALIZATION_ALL_ZERO_PATTERN;
  hspi1.Init.RxCRCInitializationPattern = SPI_CRC_INITIALIZATION_ALL_ZERO_PATTERN;
  hspi1.Init.MasterSSIdleness = SPI_MASTER_SS_IDLENESS_00CYCLE;
  hspi1.Init.MasterInterDataIdleness = SPI_MASTER_INTERDATA_IDLENESS_00CYCLE;
  hspi1.Init.MasterReceiverAutoSusp = SPI_MASTER_RX_AUTOSUSP_DISABLE;
  hspi1.Init.MasterKeepIOState = SPI_MASTER_KEEP_IO_STATE_DISABLE;
  hspi1.Init.IOSwap = SPI_IO_SWAP_DISABLE;
  if (HAL_SPI_Init(&hspi1) != HAL_OK)
  {
    Error_Handler();
  }

}

static void MX_TIM1_Init(void)
{

  TIM_ClockConfigTypeDef sClockSourceConfig = {0};
  TIM_MasterConfigTypeDef sMasterConfig = {0};
  TIM_OC_InitTypeDef sConfigOC = {0};
  TIM_BreakDeadTimeConfigTypeDef sBreakDeadTimeConfig = {0};

  htim1.Instance = TIM1;
  htim1.Init.Prescaler = uSecondTimPrescaller;
  htim1.Init.CounterMode = TIM_COUNTERMODE_UP;
  htim1.Init.Period = 62;
  htim1.Init.ClockDivision = TIM_CLOCKDIVISION_DIV1;
  htim1.Init.RepetitionCounter = 0;
  htim1.Init.AutoReloadPreload = TIM_AUTORELOAD_PRELOAD_DISABLE;
  if (HAL_TIM_Base_Init(&htim1) != HAL_OK)
  {
    Error_Handler();
  }
  sClockSourceConfig.ClockSource = TIM_CLOCKSOURCE_INTERNAL;
  if (HAL_TIM_ConfigClockSource(&htim1, &sClockSourceConfig) != HAL_OK)
  {
    Error_Handler();
  }
  if (HAL_TIM_PWM_Init(&htim1) != HAL_OK)
  {
    Error_Handler();
  }
  sMasterConfig.MasterOutputTrigger = TIM_TRGO_UPDATE;
  sMasterConfig.MasterOutputTrigger2 = TIM_TRGO2_RESET;
  sMasterConfig.MasterSlaveMode = TIM_MASTERSLAVEMODE_DISABLE;
  if (HAL_TIMEx_MasterConfigSynchronization(&htim1, &sMasterConfig) != HAL_OK)
  {
    Error_Handler();
  }
  sConfigOC.OCMode = TIM_OCMODE_PWM1;
  sConfigOC.Pulse = 30;
  sConfigOC.OCPolarity = TIM_OCPOLARITY_LOW;
  sConfigOC.OCNPolarity = TIM_OCNPOLARITY_HIGH;
  sConfigOC.OCFastMode = TIM_OCFAST_DISABLE;
  sConfigOC.OCIdleState = TIM_OCIDLESTATE_RESET;
  sConfigOC.OCNIdleState = TIM_OCNIDLESTATE_RESET;
  if (HAL_TIM_PWM_ConfigChannel(&htim1, &sConfigOC, TIM_CHANNEL_1) != HAL_OK)
  {
    Error_Handler();
  }
  sBreakDeadTimeConfig.OffStateRunMode = TIM_OSSR_DISABLE;
  sBreakDeadTimeConfig.OffStateIDLEMode = TIM_OSSI_DISABLE;
  sBreakDeadTimeConfig.LockLevel = TIM_LOCKLEVEL_OFF;
  sBreakDeadTimeConfig.DeadTime = 0;
  sBreakDeadTimeConfig.BreakState = TIM_BREAK_DISABLE;
  sBreakDeadTimeConfig.BreakPolarity = TIM_BREAKPOLARITY_HIGH;
  sBreakDeadTimeConfig.BreakFilter = 0;
  sBreakDeadTimeConfig.Break2State = TIM_BREAK2_DISABLE;
  sBreakDeadTimeConfig.Break2Polarity = TIM_BREAK2POLARITY_HIGH;
  sBreakDeadTimeConfig.Break2Filter = 0;
  sBreakDeadTimeConfig.AutomaticOutput = TIM_AUTOMATICOUTPUT_DISABLE;
  if (HAL_TIMEx_ConfigBreakDeadTime(&htim1, &sBreakDeadTimeConfig) != HAL_OK)
  {
    Error_Handler();
  }
  HAL_TIM_MspPostInit(&htim1);

}

static void MX_TIM2_Init(void)
{

  TIM_ClockConfigTypeDef sClockSourceConfig = {0};
  TIM_MasterConfigTypeDef sMasterConfig = {0};

  htim2.Instance = TIM2;
  htim2.Init.Prescaler = uSecondTimPrescaller;
  htim2.Init.CounterMode = TIM_COUNTERMODE_UP;
  htim2.Init.Period = 4294967295;
  htim2.Init.ClockDivision = TIM_CLOCKDIVISION_DIV1;
  htim2.Init.AutoReloadPreload = TIM_AUTORELOAD_PRELOAD_DISABLE;
  if (HAL_TIM_Base_Init(&htim2) != HAL_OK)
  {
    Error_Handler();
  }
  sClockSourceConfig.ClockSource = TIM_CLOCKSOURCE_INTERNAL;
  if (HAL_TIM_ConfigClockSource(&htim2, &sClockSourceConfig) != HAL_OK)
  {
    Error_Handler();
  }
  sMasterConfig.MasterOutputTrigger = TIM_TRGO_RESET;
  sMasterConfig.MasterSlaveMode = TIM_MASTERSLAVEMODE_DISABLE;
  if (HAL_TIMEx_MasterConfigSynchronization(&htim2, &sMasterConfig) != HAL_OK)
  {
    Error_Handler();
  }

}

static void MX_TIM3_Init(void)
{

  TIM_ClockConfigTypeDef sClockSourceConfig = {0};
  TIM_MasterConfigTypeDef sMasterConfig = {0};
  TIM_OC_InitTypeDef sConfigOC = {0};

  htim3.Instance = TIM3;
  htim3.Init.Prescaler = 27500-1;
  htim3.Init.CounterMode = TIM_COUNTERMODE_UP;
  htim3.Init.Period = 1000-1;
  htim3.Init.ClockDivision = TIM_CLOCKDIVISION_DIV1;
  htim3.Init.AutoReloadPreload = TIM_AUTORELOAD_PRELOAD_DISABLE;
  if (HAL_TIM_Base_Init(&htim3) != HAL_OK)
  {
    Error_Handler();
  }
  sClockSourceConfig.ClockSource = TIM_CLOCKSOURCE_INTERNAL;
  if (HAL_TIM_ConfigClockSource(&htim3, &sClockSourceConfig) != HAL_OK)
  {
    Error_Handler();
  }
  if (HAL_TIM_PWM_Init(&htim3) != HAL_OK)
  {
    Error_Handler();
  }
  sMasterConfig.MasterOutputTrigger = TIM_TRGO_UPDATE;
  sMasterConfig.MasterSlaveMode = TIM_MASTERSLAVEMODE_DISABLE;
  if (HAL_TIMEx_MasterConfigSynchronization(&htim3, &sMasterConfig) != HAL_OK)
  {
    Error_Handler();
  }
  sConfigOC.OCMode = TIM_OCMODE_PWM1;
  sConfigOC.Pulse = 0;
  sConfigOC.OCPolarity = TIM_OCPOLARITY_HIGH;
  sConfigOC.OCFastMode = TIM_OCFAST_DISABLE;
  if (HAL_TIM_PWM_ConfigChannel(&htim3, &sConfigOC, TIM_CHANNEL_1) != HAL_OK)
  {
    Error_Handler();
  }

}

static void MX_TIM4_Init(void)
{

  TIM_ClockConfigTypeDef sClockSourceConfig = {0};
  TIM_MasterConfigTypeDef sMasterConfig = {0};
  TIM_OC_InitTypeDef sConfigOC = {0};

  htim4.Instance = TIM4;
  htim4.Init.Prescaler = uSecondTimPrescaller;
  htim4.Init.CounterMode = TIM_COUNTERMODE_UP;
  htim4.Init.Period = 1000-1;
  htim4.Init.ClockDivision = TIM_CLOCKDIVISION_DIV1;
  htim4.Init.AutoReloadPreload = TIM_AUTORELOAD_PRELOAD_DISABLE;
  if (HAL_TIM_Base_Init(&htim4) != HAL_OK)
  {
    Error_Handler();
  }
  sClockSourceConfig.ClockSource = TIM_CLOCKSOURCE_INTERNAL;
  if (HAL_TIM_ConfigClockSource(&htim4, &sClockSourceConfig) != HAL_OK)
  {
    Error_Handler();
  }
  if (HAL_TIM_PWM_Init(&htim4) != HAL_OK)
  {
    Error_Handler();
  }
  sMasterConfig.MasterOutputTrigger = TIM_TRGO_RESET;
  sMasterConfig.MasterSlaveMode = TIM_MASTERSLAVEMODE_DISABLE;
  if (HAL_TIMEx_MasterConfigSynchronization(&htim4, &sMasterConfig) != HAL_OK)
  {
    Error_Handler();
  }
  sConfigOC.OCMode = TIM_OCMODE_PWM1;
  sConfigOC.Pulse = 500;
  sConfigOC.OCPolarity = TIM_OCPOLARITY_HIGH;
  sConfigOC.OCFastMode = TIM_OCFAST_DISABLE;
  if (HAL_TIM_PWM_ConfigChannel(&htim4, &sConfigOC, TIM_CHANNEL_3) != HAL_OK)
  {
    Error_Handler();
  }
  HAL_TIM_MspPostInit(&htim4);

}

static void MX_TIM8_Init(void)
{

  TIM_ClockConfigTypeDef sClockSourceConfig = {0};
  TIM_MasterConfigTypeDef sMasterConfig = {0};

  htim8.Instance = TIM8;
  htim8.Init.Prescaler = 27500-1;
  htim8.Init.CounterMode = TIM_COUNTERMODE_UP;
  htim8.Init.Period = 10000-1;
  htim8.Init.ClockDivision = TIM_CLOCKDIVISION_DIV1;
  htim8.Init.RepetitionCounter = 0;
  htim8.Init.AutoReloadPreload = TIM_AUTORELOAD_PRELOAD_DISABLE;
  if (HAL_TIM_Base_Init(&htim8) != HAL_OK)
  {
    Error_Handler();
  }
  sClockSourceConfig.ClockSource = TIM_CLOCKSOURCE_INTERNAL;
  if (HAL_TIM_ConfigClockSource(&htim8, &sClockSourceConfig) != HAL_OK)
  {
    Error_Handler();
  }
  sMasterConfig.MasterOutputTrigger = TIM_TRGO_RESET;
  sMasterConfig.MasterOutputTrigger2 = TIM_TRGO2_RESET;
  sMasterConfig.MasterSlaveMode = TIM_MASTERSLAVEMODE_DISABLE;
  if (HAL_TIMEx_MasterConfigSynchronization(&htim8, &sMasterConfig) != HAL_OK)
  {
    Error_Handler();
  }

}

static void MX_TIM15_Init(void)
{

  TIM_SlaveConfigTypeDef sSlaveConfig = {0};
  TIM_MasterConfigTypeDef sMasterConfig = {0};

  htim15.Instance = TIM15;
  htim15.Init.Prescaler = 0;
  htim15.Init.CounterMode = TIM_COUNTERMODE_UP;
  htim15.Init.Period = 8;
  htim15.Init.ClockDivision = TIM_CLOCKDIVISION_DIV1;
  htim15.Init.RepetitionCounter = 0;
  htim15.Init.AutoReloadPreload = TIM_AUTORELOAD_PRELOAD_DISABLE;
  if (HAL_TIM_Base_Init(&htim15) != HAL_OK)
  {
    Error_Handler();
  }
  sSlaveConfig.SlaveMode = TIM_SLAVEMODE_EXTERNAL1;
  sSlaveConfig.InputTrigger = TIM_TS_ITR0;
  if (HAL_TIM_SlaveConfigSynchro(&htim15, &sSlaveConfig) != HAL_OK)
  {
    Error_Handler();
  }
  sMasterConfig.MasterOutputTrigger = TIM_TRGO_RESET;
  sMasterConfig.MasterSlaveMode = TIM_MASTERSLAVEMODE_DISABLE;
  if (HAL_TIMEx_MasterConfigSynchronization(&htim15, &sMasterConfig) != HAL_OK)
  {
    Error_Handler();
  }

}

static void MX_TIM23_Init(void)
{

  TIM_ClockConfigTypeDef sClockSourceConfig = {0};
  TIM_MasterConfigTypeDef sMasterConfig = {0};

  htim23.Instance = TIM23;
  htim23.Init.Prescaler = 275-1;
  htim23.Init.CounterMode = TIM_COUNTERMODE_UP;
  htim23.Init.Period = 5000000-1;
  htim23.Init.ClockDivision = TIM_CLOCKDIVISION_DIV1;
  htim23.Init.AutoReloadPreload = TIM_AUTORELOAD_PRELOAD_DISABLE;
  if (HAL_TIM_Base_Init(&htim23) != HAL_OK)
  {
    Error_Handler();
  }
  sClockSourceConfig.ClockSource = TIM_CLOCKSOURCE_INTERNAL;
  if (HAL_TIM_ConfigClockSource(&htim23, &sClockSourceConfig) != HAL_OK)
  {
    Error_Handler();
  }
  sMasterConfig.MasterOutputTrigger = TIM_TRGO_RESET;
  sMasterConfig.MasterSlaveMode = TIM_MASTERSLAVEMODE_DISABLE;
  if (HAL_TIMEx_MasterConfigSynchronization(&htim23, &sMasterConfig) != HAL_OK)
  {
    Error_Handler();
  }

}

static void MX_USART3_UART_Init(void)
{

  huart3.Instance = USART3;
  huart3.Init.BaudRate = 115200;
  huart3.Init.WordLength = UART_WORDLENGTH_8B;
  huart3.Init.StopBits = UART_STOPBITS_1;
  huart3.Init.Parity = UART_PARITY_NONE;
  huart3.Init.Mode = UART_MODE_TX_RX;
  huart3.Init.HwFlowCtl = UART_HWCONTROL_NONE;
  huart3.Init.OverSampling = UART_OVERSAMPLING_16;
  huart3.Init.OneBitSampling = UART_ONE_BIT_SAMPLE_DISABLE;
  huart3.Init.ClockPrescaler = UART_PRESCALER_DIV1;
  huart3.AdvancedInit.AdvFeatureInit = UART_ADVFEATURE_NO_INIT;
  if (HAL_UART_Init(&huart3) != HAL_OK)
  {
    Error_Handler();
  }
  if (HAL_UARTEx_SetTxFifoThreshold(&huart3, UART_TXFIFO_THRESHOLD_1_8) != HAL_OK)
  {
    Error_Handler();
  }
  if (HAL_UARTEx_SetRxFifoThreshold(&huart3, UART_RXFIFO_THRESHOLD_1_8) != HAL_OK)
  {
    Error_Handler();
  }
  if (HAL_UARTEx_DisableFifoMode(&huart3) != HAL_OK)
  {
    Error_Handler();
  }

}

static void MX_DMA_Init(void)
{

  /* DMA controller clock enable */
  __HAL_RCC_DMA1_CLK_ENABLE();

  /* DMA interrupt init */
  /* DMA1_Stream0_IRQn interrupt configuration */
  HAL_NVIC_SetPriority(DMA1_Stream0_IRQn, 0, 0);
  HAL_NVIC_EnableIRQ(DMA1_Stream0_IRQn);

}

static void MX_GPIO_Init(void)
{
  GPIO_InitTypeDef GPIO_InitStruct = {0};

  /* GPIO Ports Clock Enable */
  __HAL_RCC_GPIOC_CLK_ENABLE();
  __HAL_RCC_GPIOF_CLK_ENABLE();
  __HAL_RCC_GPIOH_CLK_ENABLE();
  __HAL_RCC_GPIOA_CLK_ENABLE();
  __HAL_RCC_GPIOB_CLK_ENABLE();
  __HAL_RCC_GPIOE_CLK_ENABLE();
  __HAL_RCC_GPIOD_CLK_ENABLE();
  __HAL_RCC_GPIOG_CLK_ENABLE();

  /*Configure GPIO pin Output Level */
  HAL_GPIO_WritePin(ULPI_RES_GPIO_Port, ULPI_RES_Pin, GPIO_PIN_SET);

  /*Configure GPIO pin Output Level */
  HAL_GPIO_WritePin(GPIOB, RedLed_Pin|CUT_EVENT_Pin, GPIO_PIN_RESET);

  /*Configure GPIO pin Output Level */
  HAL_GPIO_WritePin(USB_FS_PWR_EN_GPIO_Port, USB_FS_PWR_EN_Pin, GPIO_PIN_SET);

  /*Configure GPIO pin Output Level */
  HAL_GPIO_WritePin(GPIOD, SYNC1_Pin|SYNC2_Pin, GPIO_PIN_RESET);

  /*Configure GPIO pin Output Level */
  HAL_GPIO_WritePin(YellowLed_GPIO_Port, YellowLed_Pin, GPIO_PIN_RESET);

  /*Configure GPIO pin : UserBtn_Pin */
  GPIO_InitStruct.Pin = UserBtn_Pin;
  GPIO_InitStruct.Mode = GPIO_MODE_INPUT;
  GPIO_InitStruct.Pull = GPIO_NOPULL;
  HAL_GPIO_Init(UserBtn_GPIO_Port, &GPIO_InitStruct);

  /*Configure GPIO pin : PA4 */
  GPIO_InitStruct.Pin = GPIO_PIN_4;
  GPIO_InitStruct.Mode = GPIO_MODE_ANALOG;
  GPIO_InitStruct.Pull = GPIO_NOPULL;
  HAL_GPIO_Init(GPIOA, &GPIO_InitStruct);

  /*Configure GPIO pins : ULPI_RES_Pin RedLed_Pin */
  GPIO_InitStruct.Pin = ULPI_RES_Pin|RedLed_Pin;
  GPIO_InitStruct.Mode = GPIO_MODE_OUTPUT_PP;
  GPIO_InitStruct.Pull = GPIO_NOPULL;
  GPIO_InitStruct.Speed = GPIO_SPEED_FREQ_LOW;
  HAL_GPIO_Init(GPIOB, &GPIO_InitStruct);

  /*Configure GPIO pin : USB_FS_PWR_EN_Pin */
  GPIO_InitStruct.Pin = USB_FS_PWR_EN_Pin;
  GPIO_InitStruct.Mode = GPIO_MODE_OUTPUT_PP;
  GPIO_InitStruct.Pull = GPIO_NOPULL;
  GPIO_InitStruct.Speed = GPIO_SPEED_FREQ_LOW;
  HAL_GPIO_Init(USB_FS_PWR_EN_GPIO_Port, &GPIO_InitStruct);

  /*Configure GPIO pins : SYNC1_Pin SYNC2_Pin */
  GPIO_InitStruct.Pin = SYNC1_Pin|SYNC2_Pin;
  GPIO_InitStruct.Mode = GPIO_MODE_OUTPUT_PP;
  GPIO_InitStruct.Pull = GPIO_NOPULL;
  GPIO_InitStruct.Speed = GPIO_SPEED_FREQ_VERY_HIGH;
  HAL_GPIO_Init(GPIOD, &GPIO_InitStruct);

  /*Configure GPIO pin : CUT_EVENT_Pin */
  GPIO_InitStruct.Pin = CUT_EVENT_Pin;
  GPIO_InitStruct.Mode = GPIO_MODE_OUTPUT_PP;
  GPIO_InitStruct.Pull = GPIO_NOPULL;
  GPIO_InitStruct.Speed = GPIO_SPEED_FREQ_VERY_HIGH;
  HAL_GPIO_Init(CUT_EVENT_GPIO_Port, &GPIO_InitStruct);

  /*Configure GPIO pin : YellowLed_Pin */
  GPIO_InitStruct.Pin = YellowLed_Pin;
  GPIO_InitStruct.Mode = GPIO_MODE_OUTPUT_PP;
  GPIO_InitStruct.Pull = GPIO_NOPULL;
  GPIO_InitStruct.Speed = GPIO_SPEED_FREQ_LOW;
  HAL_GPIO_Init(YellowLed_GPIO_Port, &GPIO_InitStruct);

}

/* USER CODE BEGIN 4 */
void USBH_CDC_ReceiveCallback(USBH_HandleTypeDef *phost){
	if (CDC_STATE == CDC_BUSY){
		/*	 DEBUG section	*/
		CDC_HandleTypeDef *CDC_Handle = (CDC_HandleTypeDef *) hUsbHostHS.pActiveClass->pData;
		bytesReceiveCounter += CDC_Handle->RxDataLength;
		packetReceiveCounter++;
		/*END OF DEUBG */

		cdcDeviceBufferIndex++;
		qDevice.lpcPacketStorage.pLpcBufToCollect = &qDevice.lpcPacketStorage.lpcDoublePacketsPerCut[cdcDeviceBufferIndex];

		if((cdcDeviceBufferIndex % LPC_MCU_SIZE) == 0){
			usbDataHasCollected = SET;
			qDevice.lpcPacketStorage.pLpcBufToSend = qDevice.lpcPacketStorage.pLpcBufToCollect - LPC_MCU_SIZE;
		}else{
			CDC_STATE = CDC_SEND;
		}

		if(cdcDeviceBufferIndex >= 2*LPC_MCU_SIZE){
			cdcDeviceBufferIndex = 0;
			qDevice.lpcPacketStorage.pLpcBufToCollect = &qDevice.lpcPacketStorage.lpcDoublePacketsPerCut[0];
		}

		hUsbHostHS.pActiveClass->pData = &cdc_Handles[cdcDeviceBufferIndex % LPC_MCU_SIZE];

		/* FOR DEBUG */
		HAL_GPIO_WritePin(CUT_EVENT_GPIO_Port, CUT_EVENT_Pin, GPIO_PIN_RESET);
//		if(usbDataHasCollected == SET && qDevice.qMeasurer.streamMeasurementStatus == DISABLE){
//			printf("cut=%d sPc=%d; rPc=%d rB=%d tick=%d\n\r",(int)cutIndex, packetSendCounter, packetReceiveCounter, bytesReceiveCounter,(int)htim2.Instance->CNT);
//		}
	}
}
/**
  * @brief  The function informs user that data have been received
  *  @param  phost: host handle typedef pointer
  * @retval None
  */
void USBH_CDC_TransmitCallback(USBH_HandleTypeDef *phost){
  /* Prevent unused argument(s) compilation warning */
	if (CDC_STATE == CDC_BUSY) CDC_STATE = CDC_RECEIVE;

	/*	DEBUG section	*/
	packetSendCounter++;
	/*END OF FOR DEUBG */
}
/* USER CODE END 4 */

/* MPU Configuration */

void MPU_Config(void)
{
  MPU_Region_InitTypeDef MPU_InitStruct = {0};

  /* Disables the MPU */
  HAL_MPU_Disable();

  /** Initializes and configures the Region and the memory to be protected
  */
  MPU_InitStruct.Enable = MPU_REGION_ENABLE;
  MPU_InitStruct.Number = MPU_REGION_NUMBER0;
  MPU_InitStruct.BaseAddress = 0x0;
  MPU_InitStruct.Size = MPU_REGION_SIZE_4GB;
  MPU_InitStruct.SubRegionDisable = 0x87;
  MPU_InitStruct.TypeExtField = MPU_TEX_LEVEL0;
  MPU_InitStruct.AccessPermission = MPU_REGION_NO_ACCESS;
  MPU_InitStruct.DisableExec = MPU_INSTRUCTION_ACCESS_DISABLE;
  MPU_InitStruct.IsShareable = MPU_ACCESS_SHAREABLE;
  MPU_InitStruct.IsCacheable = MPU_ACCESS_NOT_CACHEABLE;
  MPU_InitStruct.IsBufferable = MPU_ACCESS_NOT_BUFFERABLE;

  HAL_MPU_ConfigRegion(&MPU_InitStruct);

  /** Initializes and configures the Region and the memory to be protected
  */
  MPU_InitStruct.Number = MPU_REGION_NUMBER1;
  MPU_InitStruct.BaseAddress = 0x30000200;
  MPU_InitStruct.Size = MPU_REGION_SIZE_32KB;
  MPU_InitStruct.SubRegionDisable = 0;
  MPU_InitStruct.TypeExtField = MPU_TEX_LEVEL1;
  MPU_InitStruct.AccessPermission = MPU_REGION_FULL_ACCESS;
  MPU_InitStruct.IsShareable = MPU_ACCESS_NOT_SHAREABLE;

  HAL_MPU_ConfigRegion(&MPU_InitStruct);

  /** Initializes and configures the Region and the memory to be protected
  */
  MPU_InitStruct.Number = MPU_REGION_NUMBER2;
  MPU_InitStruct.BaseAddress = 0x30000000;
  MPU_InitStruct.Size = MPU_REGION_SIZE_512B;
  MPU_InitStruct.SubRegionDisable = 0x0;
  MPU_InitStruct.TypeExtField = MPU_TEX_LEVEL0;
  MPU_InitStruct.IsShareable = MPU_ACCESS_SHAREABLE;
  MPU_InitStruct.IsBufferable = MPU_ACCESS_BUFFERABLE;

  HAL_MPU_ConfigRegion(&MPU_InitStruct);
  /* Enables the MPU */
  HAL_MPU_Enable(MPU_PRIVILEGED_DEFAULT);

}

void Error_Handler(void)
{
  __disable_irq();
  while (1)
  {
  }
}
